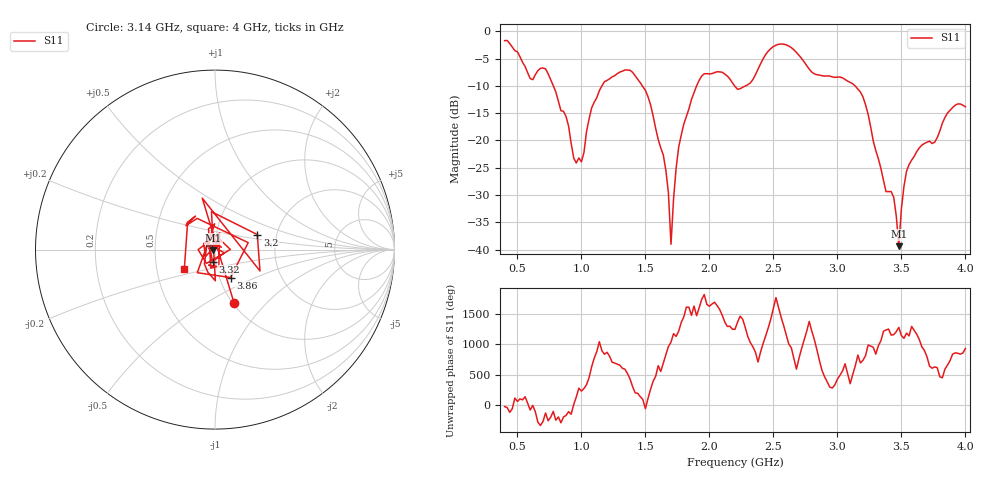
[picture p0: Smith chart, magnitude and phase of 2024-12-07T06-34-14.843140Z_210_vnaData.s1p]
!Created with skrf (http://scikit-rf.org).
# Hz S RI R 50.0
!freq ReS11 ImS11
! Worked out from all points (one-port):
!   181 points, 400 MHz to 4 GHz, reference 50 ohm
!   lowest |S11| = -39.4 dB at 3.48 GHz (marker M1), VSWR 1.02, Z = 49 - j0.371 ohm
!   |S11| at or under -10 dB: 780.7 MHz to 1.16 GHz (379.7 MHz wide, 39.1 % of centre); 1.476 GHz to 1.9 GHz (424.3 MHz wide, 25.1 % of centre); 3.137 GHz to end of sweep (the widest 3 of 4)
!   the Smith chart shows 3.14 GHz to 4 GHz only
!   S11 on the Smith chart (normalised r, x): 3.14 GHz: 1.02, -0.67; 3.2 GHz: 1.59, +0.28; 3.32 GHz: 0.96, -0.13; 3.86 GHz: 1.13, -0.36; 4 GHz: 0.69, -0.16
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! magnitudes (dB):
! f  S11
! 400 MHz  -1.7
! 600 MHz  -8.7
! 720 MHz  -6.9
! 860 MHz  -14.7
! 940 MHz  -23.2
! 1 GHz  -23.9
! 1.08 GHz  -14.0
! 1.3 GHz  -7.5
! 1.54 GHz  -13.4
! 1.66 GHz  -25.5
! 1.68 GHz  -29.7
! 1.7 GHz  -39.0
! 1.76 GHz  -21.2
! 1.94 GHz  -8.2
! 2.2 GHz  -10.1
! 2.5 GHz  -2.8
! 2.66 GHz  -3.4
! 3.1 GHz  -9.4
! 3.14 GHz  -10.1
! 3.2 GHz  -12.0
! 3.32 GHz  -23.3
! 3.38 GHz  -29.4
! 3.44 GHz  -30.4
! 3.48 GHz  -39.4
! 3.52 GHz  -28.4
! 3.56 GHz  -24.4
! 3.86 GHz  -15.0
! 4 GHz  -13.8
